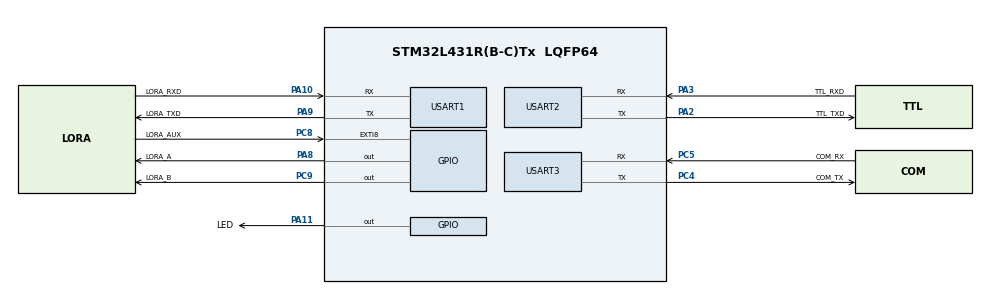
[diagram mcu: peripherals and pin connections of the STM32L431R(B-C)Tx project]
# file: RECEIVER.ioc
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Dma.Request0=USART1_RX
Dma.Request1=USART2_RX
Dma.Request2=USART3_RX
Dma.USART1_RX.0.Direction=DMA_PERIPH_TO_MEMORY
Dma.USART1_RX.0.Instance=DMA1_Channel5
Dma.USART1_RX.0.MemDataAlignment=DMA_MDATAALIGN_BYTE
Dma.USART1_RX.0.MemInc=DMA_MINC_ENABLE
Dma.USART1_RX.0.Mode=DMA_CIRCULAR
Dma.USART1_RX.0.PeriphDataAlignment=DMA_PDATAALIGN_BYTE
Dma.USART1_RX.0.PeriphInc=DMA_PINC_DISABLE
Dma.USART1_RX.0.Priority=DMA_PRIORITY_LOW
Dma.USART2_RX.1.Direction=DMA_PERIPH_TO_MEMORY
Dma.USART2_RX.1.Instance=DMA1_Channel6
Dma.USART2_RX.1.MemDataAlignment=DMA_MDATAALIGN_BYTE
Dma.USART2_RX.1.MemInc=DMA_MINC_ENABLE
Dma.USART2_RX.1.Mode=DMA_CIRCULAR
Dma.USART2_RX.1.PeriphDataAlignment=DMA_PDATAALIGN_BYTE
Dma.USART2_RX.1.PeriphInc=DMA_PINC_DISABLE
Dma.USART2_RX.1.Priority=DMA_PRIORITY_LOW
Dma.USART3_RX.2.Direction=DMA_PERIPH_TO_MEMORY
Dma.USART3_RX.2.Instance=DMA1_Channel3
Dma.USART3_RX.2.MemDataAlignment=DMA_MDATAALIGN_BYTE
Dma.USART3_RX.2.MemInc=DMA_MINC_ENABLE
Dma.USART3_RX.2.Mode=DMA_CIRCULAR
Dma.USART3_RX.2.PeriphDataAlignment=DMA_PDATAALIGN_BYTE
Dma.USART3_RX.2.PeriphInc=DMA_PINC_DISABLE
Dma.USART3_RX.2.Priority=DMA_PRIORITY_LOW
IWDG.Prescaler=IWDG_PRESCALER_32
IWDG.Reload=4000
IWDG.Window=4000
Mcu.Family=STM32L4
Mcu.Name=STM32L431R(B-C)Tx
Mcu.Package=LQFP64
NVIC.DMA1_Channel3_IRQn=true\:0\:0\:false\:false\:true\:false\:true
NVIC.DMA1_Channel5_IRQn=true\:0\:0\:false\:false\:true\:false\:true
NVIC.DMA1_Channel6_IRQn=true\:0\:0\:false\:false\:true\:false\:true
NVIC.EXTI9_5_IRQn=true\:0\:0\:false\:false\:true\:true\:true
NVIC.PriorityGroup=NVIC_PRIORITYGROUP_4
NVIC.USART1_IRQn=true\:0\:0\:false\:false\:true\:true\:true
NVIC.USART2_IRQn=true\:0\:0\:false\:false\:true\:true\:true
NVIC.USART3_IRQn=true\:0\:0\:false\:false\:true\:true\:true
PA10.GPIO_Label=LORA_RXD
PA10.GPIO_PuPd=GPIO_PULLUP
PA10.Mode=Asynchronous
PA10.Signal=USART1_RX
PA11.GPIO_Label=LED
PA11.GPIO_PuPd=GPIO_PULLUP
PA11.Signal=GPIO_Output
PA13\ (JTMS-SWDIO).Mode=Serial_Wire
PA13\ (JTMS-SWDIO).Signal=SYS_JTMS-SWDIO
PA14\ (JTCK-SWCLK).Mode=Serial_Wire
PA14\ (JTCK-SWCLK).Signal=SYS_JTCK-SWCLK
PA2.GPIO_Label=TTL_TXD
PA2.Mode=Asynchronous
PA2.Signal=USART2_TX
PA3.GPIO_Label=TTL_RXD
PA3.Mode=Asynchronous
PA3.Signal=USART2_RX
PA8.GPIO_Label=LORA_A
PA8.GPIO_PuPd=GPIO_PULLUP
PA8.Signal=GPIO_Output
PA9.GPIO_Label=LORA_TXD
PA9.GPIO_PuPd=GPIO_PULLUP
PA9.Mode=Asynchronous
PA9.Signal=USART1_TX
PC4.GPIO_Label=COM_TX
PC4.Mode=Asynchronous
PC4.Signal=USART3_TX
PC5.GPIO_Label=COM_RX
PC5.Mode=Asynchronous
PC5.Signal=USART3_RX
PC8.GPIO_Label=LORA_AUX
PC8.GPIO_ModeDefaultEXTI=GPIO_MODE_IT_FALLING
PC8.GPIO_PuPd=GPIO_PULLUP
PC8.Signal=GPXTI8
PC9.GPIO_Label=LORA_B
PC9.GPIO_PuPd=GPIO_PULLUP
PC9.Signal=GPIO_Output
ProjectManager.HeapSize=0x200
ProjectManager.StackSize=0x400
ProjectManager.TargetToolchain=MDK-ARM V5
RCC.HSE_VALUE=8000000
RCC.HSI48_VALUE=48000000
RCC.HSI_VALUE=16000000
RCC.LSE_VALUE=32768
RCC.MSI_VALUE=4000000
RCC.VCOOutputFreq_Value=32000000
USART1.VirtualMode-Asynchronous=VM_ASYNC
USART2.VirtualMode-Asynchronous=VM_ASYNC
USART3.VirtualMode-Asynchronous=VM_ASYNC
VP_IWDG_VS_IWDG.Mode=IWDG_Activate
board=custom

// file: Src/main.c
/* USER CODE BEGIN Header */
/**
  ******************************************************************************
  * @file           : main.c
  * @brief          : Main program body
  ******************************************************************************
  * @attention
  *
  * <h2><center>&copy; Copyright (c) 2019 STMicroelectronics.
  * All rights reserved.</center></h2>
  *
  * This software component is licensed by ST under BSD 3-Clause license,
  * the "License"; You may not use this file except in compliance with the
  * License. You may obtain a copy of the License at:
  *                        opensource.org/licenses/BSD-3-Clause
  *
  ******************************************************************************
  */
/* USER CODE END Header */

#include "main.h"

/* USER CODE BEGIN Includes */
#include "bsp.h"
#include "node_Protocol.h"
/* USER CODE END Includes */

/* USER CODE BEGIN PM */
extern uart_stru uart1;
/* USER CODE END PM */

IWDG_HandleTypeDef hiwdg;

UART_HandleTypeDef huart1;
UART_HandleTypeDef huart2;
UART_HandleTypeDef huart3;
DMA_HandleTypeDef hdma_usart1_rx;
DMA_HandleTypeDef hdma_usart2_rx;
DMA_HandleTypeDef hdma_usart3_rx;

/* USER CODE BEGIN PV */
extern uart_stru uart1;
extern uart_stru uart2;
extern uart_stru uart3;
/* USER CODE END PV */

void SystemClock_Config(void);
static void MX_GPIO_Init(void);
static void MX_DMA_Init(void);
static void MX_USART1_UART_Init(void);
static void MX_USART2_UART_Init(void);
static void MX_USART3_UART_Init(void);
static void MX_IWDG_Init(void);

int main(void)
{

  /* MCU Configuration--------------------------------------------------------*/

  /* Reset of all peripherals, Initializes the Flash interface and the Systick. */
  HAL_Init();

  /* Configure the system clock */
  SystemClock_Config();

  /* Initialize all configured peripherals */
  MX_GPIO_Init();
  MX_DMA_Init();
  MX_USART1_UART_Init();
  MX_USART2_UART_Init();
  MX_USART3_UART_Init();
 // MX_IWDG_Init();
  /* USER CODE BEGIN 2 */
		__HAL_UART_CLEAR_IDLEFLAG(&huart1);
	__HAL_UART_DISABLE_IT(&huart1, UART_IT_IDLE);	//ʹ�ܿ����ж�
	HAL_UART_DMAStop(&huart1);
	__HAL_UART_ENABLE_IT(&huart1, UART_IT_IDLE);	//ʹ�ܿ����ж�
	HAL_UART_Receive_DMA(&huart1,uart1.receive_buffer,UARTBUFFERSIZE);
//	HAL_Delay(1000);

	__HAL_UART_CLEAR_IDLEFLAG(&huart2);
	__HAL_UART_DISABLE_IT(&huart2, UART_IT_IDLE);	//ʹ�ܿ����ж�
	HAL_UART_DMAStop(&huart2);
	__HAL_UART_ENABLE_IT(&huart2, UART_IT_IDLE);	//ʹ�ܿ����ж�
	HAL_UART_Receive_DMA(&huart2,uart2.receive_buffer,UARTBUFFERSIZE);
	//	HAL_Delay(1000);

	__HAL_UART_CLEAR_IDLEFLAG(&huart3);
	__HAL_UART_DISABLE_IT(&huart3, UART_IT_IDLE);	//ʹ�ܿ����ж�
	HAL_UART_DMAStop(&huart3);
	__HAL_UART_ENABLE_IT(&huart3, UART_IT_IDLE);	//ʹ�ܿ����ж�
	HAL_UART_Receive_DMA(&huart3,uart3.receive_buffer,UARTBUFFERSIZE);
	//	HAL_Delay(1000);

	 nodeParamsInit();
   uart1.receive_buffer[0]=0x5a;
   uart1.receive_buffer[1]=0x50;
   uart1.receive_buffer[2]=0x51;
uart1.read_len=2;
  /* USER CODE END 2 */

  /* Infinite loop */
  while (1)
  {

    /* USER CODE BEGIN 3 */
		//HAL_Delay(10000);
		 HAL_GPIO_TogglePin(GPIOA, LED_Pin);
		//HAL_UART_Transmit(&huart1,uart1.receive_buffer, 3 ,10);
		 uart_process();
		  //  HAL_IWDG_Refresh(&hiwdg);
  }
  /* USER CODE END 3 */
}

void SystemClock_Config(void)
{
  RCC_OscInitTypeDef RCC_OscInitStruct = {0};
  RCC_ClkInitTypeDef RCC_ClkInitStruct = {0};
  RCC_PeriphCLKInitTypeDef PeriphClkInit = {0};

  /** Initializes the CPU, AHB and APB busses clocks
  */
  RCC_OscInitStruct.OscillatorType = RCC_OSCILLATORTYPE_LSI|RCC_OSCILLATORTYPE_MSI;
  RCC_OscInitStruct.LSIState = RCC_LSI_ON;
  RCC_OscInitStruct.MSIState = RCC_MSI_ON;
  RCC_OscInitStruct.MSICalibrationValue = 0;
  RCC_OscInitStruct.MSIClockRange = RCC_MSIRANGE_6;
  RCC_OscInitStruct.PLL.PLLState = RCC_PLL_NONE;
  if (HAL_RCC_OscConfig(&RCC_OscInitStruct) != HAL_OK)
  {
    Error_Handler();
  }
  /** Initializes the CPU, AHB and APB busses clocks
  */
  RCC_ClkInitStruct.ClockType = RCC_CLOCKTYPE_HCLK|RCC_CLOCKTYPE_SYSCLK
                              |RCC_CLOCKTYPE_PCLK1|RCC_CLOCKTYPE_PCLK2;
  RCC_ClkInitStruct.SYSCLKSource = RCC_SYSCLKSOURCE_MSI;
  RCC_ClkInitStruct.AHBCLKDivider = RCC_SYSCLK_DIV1;
  RCC_ClkInitStruct.APB1CLKDivider = RCC_HCLK_DIV1;
  RCC_ClkInitStruct.APB2CLKDivider = RCC_HCLK_DIV1;

  if (HAL_RCC_ClockConfig(&RCC_ClkInitStruct, FLASH_LATENCY_0) != HAL_OK)
  {
    Error_Handler();
  }
  PeriphClkInit.PeriphClockSelection = RCC_PERIPHCLK_USART1|RCC_PERIPHCLK_USART2
                              |RCC_PERIPHCLK_USART3;
  PeriphClkInit.Usart1ClockSelection = RCC_USART1CLKSOURCE_PCLK2;
  PeriphClkInit.Usart2ClockSelection = RCC_USART2CLKSOURCE_PCLK1;
  PeriphClkInit.Usart3ClockSelection = RCC_USART3CLKSOURCE_PCLK1;
  if (HAL_RCCEx_PeriphCLKConfig(&PeriphClkInit) != HAL_OK)
  {
    Error_Handler();
  }
  /** Configure the main internal regulator output voltage
  */
  if (HAL_PWREx_ControlVoltageScaling(PWR_REGULATOR_VOLTAGE_SCALE1) != HAL_OK)
  {
    Error_Handler();
  }
}

static void MX_IWDG_Init(void)
{

  hiwdg.Instance = IWDG;
  hiwdg.Init.Prescaler = IWDG_PRESCALER_32;
  hiwdg.Init.Window = 4000;
  hiwdg.Init.Reload = 4000;
  if (HAL_IWDG_Init(&hiwdg) != HAL_OK)
  {
    Error_Handler();
  }

}

static void MX_USART1_UART_Init(void)
{

  huart1.Instance = USART1;
  huart1.Init.BaudRate = 115200;
  huart1.Init.WordLength = UART_WORDLENGTH_8B;
  huart1.Init.StopBits = UART_STOPBITS_1;
  huart1.Init.Parity = UART_PARITY_NONE;
  huart1.Init.Mode = UART_MODE_TX_RX;
  huart1.Init.HwFlowCtl = UART_HWCONTROL_NONE;
  huart1.Init.OverSampling = UART_OVERSAMPLING_16;
  huart1.Init.OneBitSampling = UART_ONE_BIT_SAMPLE_DISABLE;
  huart1.AdvancedInit.AdvFeatureInit = UART_ADVFEATURE_NO_INIT;
  if (HAL_UART_Init(&huart1) != HAL_OK)
  {
    Error_Handler();
  }

}

static void MX_USART2_UART_Init(void)
{

  huart2.Instance = USART2;
  huart2.Init.BaudRate = 115200;
  huart2.Init.WordLength = UART_WORDLENGTH_8B;
  huart2.Init.StopBits = UART_STOPBITS_1;
  huart2.Init.Parity = UART_PARITY_NONE;
  huart2.Init.Mode = UART_MODE_TX_RX;
  huart2.Init.HwFlowCtl = UART_HWCONTROL_NONE;
  huart2.Init.OverSampling = UART_OVERSAMPLING_16;
  huart2.Init.OneBitSampling = UART_ONE_BIT_SAMPLE_DISABLE;
  huart2.AdvancedInit.AdvFeatureInit = UART_ADVFEATURE_NO_INIT;
  if (HAL_UART_Init(&huart2) != HAL_OK)
  {
    Error_Handler();
  }

}

static void MX_USART3_UART_Init(void)
{

  huart3.Instance = USART3;
  huart3.Init.BaudRate = 115200;
  huart3.Init.WordLength = UART_WORDLENGTH_8B;
  huart3.Init.StopBits = UART_STOPBITS_1;
  huart3.Init.Parity = UART_PARITY_NONE;
  huart3.Init.Mode = UART_MODE_TX_RX;
  huart3.Init.HwFlowCtl = UART_HWCONTROL_NONE;
  huart3.Init.OverSampling = UART_OVERSAMPLING_16;
  huart3.Init.OneBitSampling = UART_ONE_BIT_SAMPLE_DISABLE;
  huart3.AdvancedInit.AdvFeatureInit = UART_ADVFEATURE_NO_INIT;
  if (HAL_UART_Init(&huart3) != HAL_OK)
  {
    Error_Handler();
  }

}

static void MX_DMA_Init(void)
{

  /* DMA controller clock enable */
  __HAL_RCC_DMA1_CLK_ENABLE();

  /* DMA interrupt init */
  /* DMA1_Channel3_IRQn interrupt configuration */
  HAL_NVIC_SetPriority(DMA1_Channel3_IRQn, 0, 0);
  HAL_NVIC_EnableIRQ(DMA1_Channel3_IRQn);
  /* DMA1_Channel5_IRQn interrupt configuration */
  HAL_NVIC_SetPriority(DMA1_Channel5_IRQn, 0, 0);
  HAL_NVIC_EnableIRQ(DMA1_Channel5_IRQn);
  /* DMA1_Channel6_IRQn interrupt configuration */
  HAL_NVIC_SetPriority(DMA1_Channel6_IRQn, 0, 0);
  HAL_NVIC_EnableIRQ(DMA1_Channel6_IRQn);

}

static void MX_GPIO_Init(void)
{
  GPIO_InitTypeDef GPIO_InitStruct = {0};

  /* GPIO Ports Clock Enable */
  __HAL_RCC_GPIOA_CLK_ENABLE();
  __HAL_RCC_GPIOC_CLK_ENABLE();

  /*Configure GPIO pin Output Level */
  HAL_GPIO_WritePin(LORA_B_GPIO_Port, LORA_B_Pin, GPIO_PIN_RESET);

  /*Configure GPIO pin Output Level */
  HAL_GPIO_WritePin(GPIOA, LORA_A_Pin|LED_Pin, GPIO_PIN_RESET);

  /*Configure GPIO pin : LORA_AUX_Pin */
  GPIO_InitStruct.Pin = LORA_AUX_Pin;
  GPIO_InitStruct.Mode = GPIO_MODE_IT_FALLING;
  GPIO_InitStruct.Pull = GPIO_PULLUP;
  HAL_GPIO_Init(LORA_AUX_GPIO_Port, &GPIO_InitStruct);

  /*Configure GPIO pin : LORA_B_Pin */
  GPIO_InitStruct.Pin = LORA_B_Pin;
  GPIO_InitStruct.Mode = GPIO_MODE_OUTPUT_PP;
  GPIO_InitStruct.Pull = GPIO_PULLUP;
  GPIO_InitStruct.Speed = GPIO_SPEED_FREQ_LOW;
  HAL_GPIO_Init(LORA_B_GPIO_Port, &GPIO_InitStruct);

  /*Configure GPIO pins : LORA_A_Pin LED_Pin */
  GPIO_InitStruct.Pin = LORA_A_Pin|LED_Pin;
  GPIO_InitStruct.Mode = GPIO_MODE_OUTPUT_PP;
  GPIO_InitStruct.Pull = GPIO_PULLUP;
  GPIO_InitStruct.Speed = GPIO_SPEED_FREQ_LOW;
  HAL_GPIO_Init(GPIOA, &GPIO_InitStruct);

  /* EXTI interrupt init*/
  HAL_NVIC_SetPriority(EXTI9_5_IRQn, 0, 0);
  HAL_NVIC_EnableIRQ(EXTI9_5_IRQn);

}

void Error_Handler(void)
{
}

/************************ (C) COPYRIGHT STMicroelectronics *****END OF FILE****/
